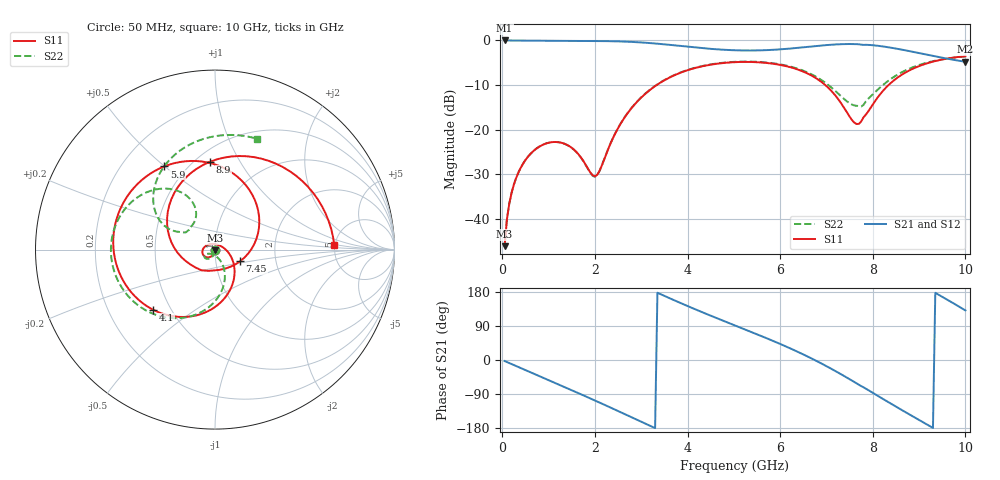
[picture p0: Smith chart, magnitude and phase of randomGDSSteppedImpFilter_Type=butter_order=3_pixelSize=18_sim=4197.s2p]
! freq	dB(S11)	phase(S11)	dB(S12)	phase(S12)
!  dB(S21)	phase(S21)	dB(S22)	phase(S22)
!S-par simulation data
#  GHz  S  DB  R 50
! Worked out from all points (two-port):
!   200 points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, 50 MHz to 10 GHz, reference 50 ohm
!   highest |S21| = -0.01 dB at 50 MHz (marker M1); lowest = -4.8 dB at 10 GHz (marker M2)
!   |S21| within 3 dB of the highest: start of sweep to 9.082 GHz
!   lowest |S11| = -46.1 dB at 50 MHz (marker M3), VSWR 1.01, Z = 50 - j0.494 ohm
!   |S11| at or under -10 dB: start of sweep to 3.334 GHz; 6.973 GHz to 8.341 GHz (1.368 GHz wide, 17.9 % of centre)
!   |S22| runs from -46.1 to -3.6 dB; largest |S21 - S12| = 0
!   S11 on the Smith chart (normalised r, x): 50 MHz: 1.00, -0.01; 4.1 GHz: 0.40, -0.35; 5.9 GHz: 0.38, +0.50; 7.45 GHz: 1.31, -0.18; 8.9 GHz: 0.59, +0.76; 10 GHz: 4.93, +0.46
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0.05  -46.13 -89.4  -0.01 -2.7  -0.01 -2.7  -46.12 -88.7
0.1  -40.10 -94.1  -0.01 -5.4  -0.01 -5.4  -40.08 -92.7
0.2  -34.19 -101.3  -0.02 -10.7  -0.02 -10.7  -34.17 -98.5
0.6  -25.53 -126.8  -0.05 -31.9  -0.05 -31.9  -25.52 -118.0
1.2  -22.80 -166.1  -0.10 -63.8  -0.10 -63.8  -22.80 -143.1
1.75  -27.02 140.7  -0.12 -93.2  -0.12 -93.2  -27.08 -149.1
2.05  -30.13 58.4  -0.13 -109.6  -0.13 -109.6  -30.20 -98.7
2.65  -17.13 -40.2  -0.26 -143.1  -0.26 -143.1  -17.08 -67.3
3.4  -9.55 -93.3  -0.78 174.7  -0.78 174.7  -9.50 -98.4
4.1  -6.36 -135.7  -1.51 137.2  -1.51 137.2  -6.30 -130.4
5.05  -4.86 170.9  -2.22 89.9  -2.22 89.9  -4.78 -170.6
5.9  -5.31 121.4  -2.07 47.6  -2.07 47.6  -5.19 155.6
6.3  -6.24 94.9  -1.74 26.1  -1.74 26.1  -6.08 139.9
6.7  -8.00 64.5  -1.33 2.7  -1.33 2.7  -7.72 125.3
7.1  -11.26 26.4  -0.96 -22.9  -0.96 -22.9  -10.50 115.6
7.45  -16.26 -25.2  -0.81 -47.1  -0.81 -47.1  -13.73 121.4
7.7  -18.70 -92.4  -0.87 -65.3  -0.87 -65.3  -14.70 138.3
8  -14.36 -167.2  -1.08 -86.6  -1.08 -86.6  -12.09 155.5
8.35  -9.91 146.7  -1.56 -112.2  -1.56 -112.2  -8.93 151.4
8.9  -6.18 93.1  -2.62 -151.3  -2.62 -151.3  -5.87 129.3
9.4  -4.50 50.4  -3.67 173.8  -3.67 173.8  -4.43 104.0
10  -3.54 2.2  -4.78 130.8  -4.78 130.8  -3.60 69.4
